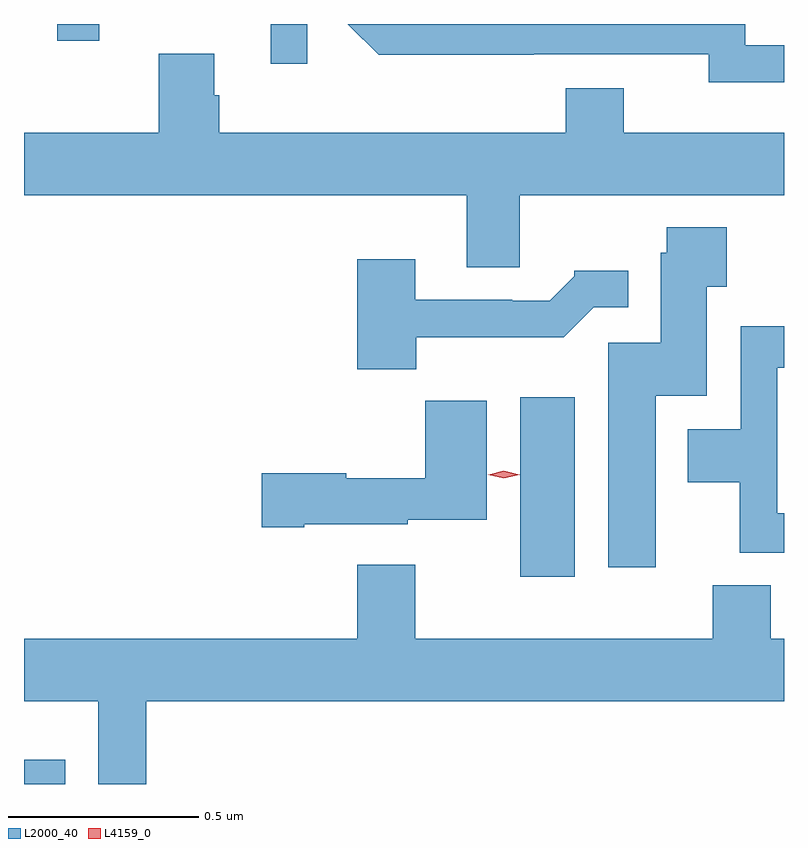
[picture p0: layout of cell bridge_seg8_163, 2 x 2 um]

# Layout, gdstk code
import gdstk
lib = gdstk.Library(unit=1e-6, precision=1e-09)
def R(c, l, rs):  # rectangles x0, y0, x1, y1
    for r in rs: c.add(gdstk.rectangle(r[:2], r[2:], *l))
def P(c, l, *ps):  # polygons
    for p in ps: c.add(gdstk.Polygon(p, *l))
L2000_40 = (2000, 40)
L4159_0 = (4159, 0)

bridge_seg8_163 = lib.new_cell('bridge_seg8_163')
R(bridge_seg8_163, L2000_40, [(513.916,1106.958,514.024,1107.022), (515.222,1107.504,515.365,1107.976), (514.565,1108.854,514.662,1108.958), (514.003,1108.914,514.114,1108.958)])
P(bridge_seg8_163, L2000_40, [(515.916,1108.902),(515.814,1108.902),(515.814,1108.958),(514.768,1108.958),(514.85,1108.877),(515.258,1108.877),(515.258,1108.878),(515.718,1108.878),(515.718,1108.805),(515.916,1108.805)],
  [(515.221,1108.508),(515.916,1108.508),(515.916,1108.672),(515.494,1108.672),(515.494,1108.789),(515.342,1108.789),(515.342,1108.672),(514.43,1108.672),(514.43,1108.77),(514.417,1108.77),(514.417,1108.88),(514.27,1108.88),(514.27,1108.672),(513.916,1108.672),(513.916,1108.508),(515.081,1108.508),(515.081,1108.318),(515.221,1108.318)],
  [(515.578,1107.98),(515.713,1107.98),(515.713,1108.267),(515.765,1108.267),(515.765,1108.423),(515.608,1108.423),(515.608,1108.356),(515.591,1108.356),(515.591,1108.119),(515.453,1108.119),(515.453,1107.528),(515.578,1107.528)],
  [(514.948,1108.134),(515.337,1108.134),(515.415,1108.212),(515.506,1108.212),(515.506,1108.309),(515.364,1108.309),(515.364,1108.294),(515.3,1108.23),(515.201,1108.23),(515.201,1108.233),(514.945,1108.233),(514.945,1108.339),(514.793,1108.339),(514.793,1108.049),(514.948,1108.049)],
  [(515.916,1107.67),(515.898,1107.67),(515.898,1108.053),(515.916,1108.053),(515.916,1108.162),(515.802,1108.162),(515.802,1107.892),(515.663,1107.892),(515.663,1107.752),(515.8,1107.752),(515.8,1107.566),(515.916,1107.566)],
  [(514.654,1107.641),(514.926,1107.641),(514.926,1107.653),(515.134,1107.653),(515.134,1107.967),(514.972,1107.967),(514.972,1107.763),(514.764,1107.763),(514.764,1107.776),(514.542,1107.776),(514.542,1107.634),(514.654,1107.634)],
  [(514.238,1107.176),(515.916,1107.176),(515.916,1107.34),(515.881,1107.34),(515.881,1107.481),(515.729,1107.481),(515.729,1107.34),(514.945,1107.34),(514.945,1107.535),(514.793,1107.535),(514.793,1107.34),(513.916,1107.34),(513.916,1107.176),(514.112,1107.176),(514.112,1106.958),(514.238,1106.958)])
P(bridge_seg8_163, L4159_0, [(515.178,1107.762),(515.138,1107.772),(515.137,1107.772),(515.138,1107.772),(515.178,1107.782),(515.22,1107.772),(515.22,1107.772),(515.22,1107.772)])

lib.write_gds('bridge_seg8_163.gds')
